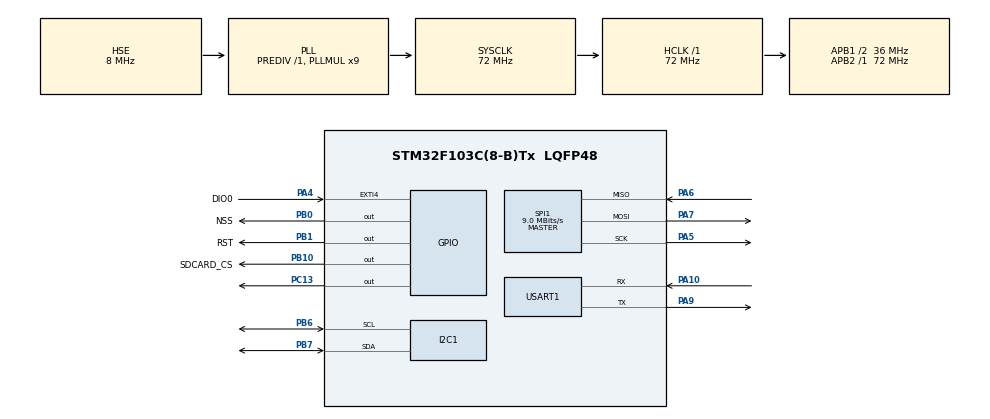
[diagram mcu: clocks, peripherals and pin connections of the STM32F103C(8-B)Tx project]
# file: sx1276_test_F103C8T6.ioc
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FATFS._MAX_SS=4096
FATFS._USE_LFN=1
Mcu.Family=STM32F1
Mcu.Name=STM32F103C(8-B)Tx
Mcu.Package=LQFP48
NVIC.EXTI4_IRQn=true\:0\:0\:false\:false\:true\:true\:true\:true
NVIC.PriorityGroup=NVIC_PRIORITYGROUP_4
PA10.Mode=Asynchronous
PA10.Signal=USART1_RX
PA13.Mode=Serial_Wire
PA13.Signal=SYS_JTMS-SWDIO
PA14.Mode=Serial_Wire
PA14.Signal=SYS_JTCK-SWCLK
PA4.GPIO_Label=DIO0
PA4.Signal=GPXTI4
PA5.Mode=Full_Duplex_Master
PA5.Signal=SPI1_SCK
PA6.Mode=Full_Duplex_Master
PA6.Signal=SPI1_MISO
PA7.Mode=Full_Duplex_Master
PA7.Signal=SPI1_MOSI
PA9.Mode=Asynchronous
PA9.Signal=USART1_TX
PB0.GPIO_Label=NSS
PB0.PinState=GPIO_PIN_SET
PB0.Signal=GPIO_Output
PB1.GPIO_Label=RST
PB1.PinState=GPIO_PIN_SET
PB1.Signal=GPIO_Output
PB10.GPIO_Label=SDCARD_CS
PB10.Signal=GPIO_Output
PB6.Mode=I2C
PB6.Signal=I2C1_SCL
PB7.Mode=I2C
PB7.Signal=I2C1_SDA
PC13-TAMPER-RTC.Signal=GPIO_Output
PD0-OSC_IN.Mode=HSE-External-Oscillator
PD0-OSC_IN.Signal=RCC_OSC_IN
PD1-OSC_OUT.Mode=HSE-External-Oscillator
PD1-OSC_OUT.Signal=RCC_OSC_OUT
ProjectManager.HeapSize=0x200
ProjectManager.StackSize=0x400
ProjectManager.TargetToolchain=STM32CubeIDE
RCC.AHBFreq_Value=72000000
RCC.APB1CLKDivider=RCC_HCLK_DIV2
RCC.APB1Freq_Value=36000000
RCC.APB1TimFreq_Value=72000000
RCC.APB2Freq_Value=72000000
RCC.APB2TimFreq_Value=72000000
RCC.HCLKFreq_Value=72000000
RCC.PLLMUL=RCC_PLL_MUL9
RCC.PLLSourceVirtual=RCC_PLLSOURCE_HSE
RCC.SYSCLKFreq_VALUE=72000000
RCC.SYSCLKSource=RCC_SYSCLKSOURCE_PLLCLK
RCC.USBFreq_Value=72000000
SPI1.BaudRatePrescaler=SPI_BAUDRATEPRESCALER_8
SPI1.CalculateBaudRate=9.0 MBits/s
SPI1.Direction=SPI_DIRECTION_2LINES
SPI1.Mode=SPI_MODE_MASTER
SPI1.VirtualType=VM_MASTER
USART1.VirtualMode=VM_ASYNC
VP_FATFS_VS_Generic.Mode=User_defined
board=custom

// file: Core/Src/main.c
/* USER CODE BEGIN Header */
/**
  ******************************************************************************
  * @file           : main.c
  * @brief          : Main program body
  ******************************************************************************
  * @attention
  *
  * Copyright (c) 2023 STMicroelectronics.
  * All rights reserved.
  *
  * This software is licensed under terms that can be found in the LICENSE file
  * in the root directory of this software component.
  * If no LICENSE file comes with this software, it is provided AS-IS.
  *
  ******************************************************************************
  */
/* USER CODE END Header */
#include "main.h"
#include "fatfs.h"

/* USER CODE BEGIN Includes */
#include <stdio.h>
#include <string.h>
#include "LoRa.h"
#include "DS1307.h"
/* USER CODE END Includes */

I2C_HandleTypeDef hi2c1;

SPI_HandleTypeDef hspi1;

UART_HandleTypeDef huart1;

/* USER CODE BEGIN PV */
LoRa myLoRa;
char message[100];
uint16_t LoRa_status;
uint8_t TxBuffer[16];
uint8_t RxBuffer[16];
char pckt_str[50];
char pckt_buffer[2];
int rssi;
float snr;
int flag = 0;

RTC_time_t mytime;

FATFS fs;
FIL fil;
FATFS *pfs;
DWORD fre_clust;
uint32_t totalSpace, freeSpace;
char info[50];

int count = 0;
/* USER CODE END PV */

void SystemClock_Config(void);
static void MX_GPIO_Init(void);
static void MX_SPI1_Init(void);
static void MX_USART1_UART_Init(void);
static void MX_I2C1_Init(void);

/* USER CODE BEGIN 0 */
void HAL_GPIO_EXTI_Callback(uint16_t GPIO_Pin)
{
  if(GPIO_Pin == DIO0_Pin){
	  LoRa_receive(&myLoRa, RxBuffer, 16);
	  rssi = LoRa_getRSSI(&myLoRa);
	  snr = LoRa_getSNR(&myLoRa);
	  memset(pckt_str, NULL, strlen(pckt_str));
	  for(int i =0;i<16;i++)
	  {
		  if(RxBuffer[i] < 16) strcat(pckt_str, "0");
		  strcat(pckt_str, itoa(RxBuffer[i], pckt_buffer, 16));
		  strcat(pckt_str, " ");
	  }
	  sprintf(message, " Receive message: %s, RSSI = %d, SNR = %.2f\r\n", pckt_str, rssi, snr);
	  HAL_UART_Transmit(&huart1, (uint8_t *)message, strlen(message), 0xffff);
	  memset(message, NULL, strlen(message));
	  itoa(rssi, TxBuffer, 10);
	  flag = 1;
	  //LoRa_transmit(&myLoRa, TxBuffer, 16, 500);
  }
}
/* USER CODE END 0 */

int main(void)
{

  /* MCU Configuration--------------------------------------------------------*/

  /* Reset of all peripherals, Initializes the Flash interface and the Systick. */
  HAL_Init();

  /* Configure the system clock */
  SystemClock_Config();

  /* Initialize all configured peripherals */
  MX_GPIO_Init();
  MX_SPI1_Init();
  MX_USART1_UART_Init();
  MX_I2C1_Init();
  MX_FATFS_Init();
  /* USER CODE BEGIN 2 */
  myLoRa = newLoRa();

  myLoRa.CS_port         = NSS_GPIO_Port;
  myLoRa.CS_pin          = NSS_Pin;
  myLoRa.reset_port      = RST_GPIO_Port;
  myLoRa.reset_pin       = RST_Pin;
  myLoRa.DIO0_port       = DIO0_GPIO_Port;
  myLoRa.DIO0_pin        = DIO0_Pin;
  myLoRa.hSPIx           = &hspi1;

  myLoRa.frequency             = 922400;             // default = 433 MHz
  myLoRa.spredingFactor        = SF_8;           // default = SF_7
  myLoRa.bandWidth             = BW_250KHz;       // default = BW_125KHz
  myLoRa.crcRate               = CR_4_8;          // default = CR_4_5
  myLoRa.power                 = POWER_20db;      // default = 20db
  myLoRa.overCurrentProtection = 150;             // default = 100 mA

  uint16_t LoRa_status = LoRa_init(&myLoRa);
  sprintf(message, "LoRa initialization ..");
  HAL_UART_Transmit(&huart1, (uint8_t *)message, strlen(message), 0xffff);
  memset(message, NULL, strlen(message));
  if(LoRa_status == LORA_OK){
	  sprintf(message, " success !\r\n");
	  HAL_UART_Transmit(&huart1, (uint8_t *)message, strlen(message), 0xffff);
	  memset(message, NULL, strlen(message));
  }

  LoRa_startReceiving(&myLoRa);

  if(ds1307_init(&hi2c1)){
  		sprintf(message, "DS1307 initialization .. fail !\r\n");
  		HAL_UART_Transmit(&huart1, (uint8_t *)message, strlen(message), 0xffff);
  		memset(message, NULL, strlen(message));
  		while(1);
  	}
  	sprintf(message, "DS1307 initialization .. success !\r\n");
  	HAL_UART_Transmit(&huart1, (uint8_t *)message, strlen(message), 0xffff);
  	memset(message, NULL, strlen(message));
  	mytime.seconds = 0;
  	mytime.minutes = 0;
  	mytime.hours = 0;
  	mytime.time_format = TIME_FORMAT_24HRS;
  	ds1307_set_current_time(&mytime);

  	// ---SD CARD---
  	HAL_Delay(500);
	f_mount(&fs, "", 0);
	f_open(&fil, "write.txt", FA_OPEN_ALWAYS | FA_WRITE | FA_READ);

	HAL_Delay(500);
	f_lseek(&fil, fil.fsize);
	f_puts("Hello from Sun 250 12\n", &fil);
	f_close(&fil);

	f_getfree("", &fre_clust, &pfs);
	totalSpace = (uint32_t)((pfs->n_fatent - 2) * pfs->csize * 0.5);
	freeSpace = (uint32_t)(fre_clust * pfs->csize * 0.5);
	sprintf(info,"TotalSpace = %d\tFreeSpace = %d\r\n", totalSpace, freeSpace);
	HAL_UART_Transmit(&huart1, info, strlen(info), 0xffff);

	char buffer[100];
	f_open(&fil, "write.txt", FA_READ);
	while(f_gets(buffer, sizeof(buffer), &fil))
	{
	// Can use the buffer for something useful
	sprintf(info,"%s\r",buffer);
	HAL_UART_Transmit(&huart1, info, strlen(info), 0xffff);
	memset(buffer,0,sizeof(buffer));
	}
	f_close(&fil);
  /* USER CODE END 2 */

  /* Infinite loop */
  /* USER CODE BEGIN WHILE */
  while (1)
  {
	if(flag == 1){
		count++;
		uint8_t checksum = 0;
		for(int i = 0;i < 15; i++)
		{
			checksum += RxBuffer[i];
		}
		sprintf(message,"Checksum = %02x, Answer = %02x %s \r\n", checksum, RxBuffer[15],
				(checksum == RxBuffer[15])?"OK !":"Fail !");
		HAL_UART_Transmit(&huart1, (uint8_t *)message, strlen(message), 0xffff);
		memset(message ,NULL ,sizeof(message));

		sprintf(info,"%d,%d,%02d:%02d:%02d\n", count, (checksum == RxBuffer[15])?1:0, mytime.hours, mytime.minutes, mytime.seconds);
		HAL_UART_Transmit(&huart1, (uint8_t *)info, strlen(info), 0xffff);

		f_open(&fil, "BW250_SF12_test.csv", FA_OPEN_ALWAYS | FA_WRITE | FA_READ);

		f_lseek(&fil, fil.fsize);
		f_puts(info, &fil);
		f_close(&fil);

		char buffer[100];
		f_open(&fil, "BW250_SF12_test.csv", FA_READ);
		while(f_gets(buffer, sizeof(buffer), &fil))
		{
			// Can use the buffer for something useful
			sprintf(info,"%s\r",buffer);
			HAL_UART_Transmit(&huart1, info, strlen(info), 0xffff);
			memset(buffer,0,sizeof(buffer));
		}
		f_close(&fil);

		memset(info ,NULL ,sizeof(info));
		flag = 0;
	}

	HAL_GPIO_WritePin(GPIOC, GPIO_PIN_13, GPIO_PIN_SET);	//PC13 High
	HAL_Delay(500);// Delay
	HAL_GPIO_WritePin(GPIOC, GPIO_PIN_13, GPIO_PIN_RESET);	//PC13 Low
	HAL_Delay(500);// Delay
	ds1307_get_current_time(&mytime);
	sprintf(message, "Current time: %02d:%02d:%02d\r\n",mytime.hours, mytime.minutes, mytime.seconds);
	HAL_UART_Transmit(&huart1, (uint8_t *)message, strlen(message), 0xffff);
	memset(message, NULL, strlen(message));
    /* USER CODE END WHILE */

  }
}

void SystemClock_Config(void)
{
  RCC_OscInitTypeDef RCC_OscInitStruct = {0};
  RCC_ClkInitTypeDef RCC_ClkInitStruct = {0};

  /** Initializes the RCC Oscillators according to the specified parameters
  * in the RCC_OscInitTypeDef structure.
  */
  RCC_OscInitStruct.OscillatorType = RCC_OSCILLATORTYPE_HSE;
  RCC_OscInitStruct.HSEState = RCC_HSE_ON;
  RCC_OscInitStruct.HSEPredivValue = RCC_HSE_PREDIV_DIV1;
  RCC_OscInitStruct.HSIState = RCC_HSI_ON;
  RCC_OscInitStruct.PLL.PLLState = RCC_PLL_ON;
  RCC_OscInitStruct.PLL.PLLSource = RCC_PLLSOURCE_HSE;
  RCC_OscInitStruct.PLL.PLLMUL = RCC_PLL_MUL9;
  if (HAL_RCC_OscConfig(&RCC_OscInitStruct) != HAL_OK)
  {
    Error_Handler();
  }

  /** Initializes the CPU, AHB and APB buses clocks
  */
  RCC_ClkInitStruct.ClockType = RCC_CLOCKTYPE_HCLK|RCC_CLOCKTYPE_SYSCLK
                              |RCC_CLOCKTYPE_PCLK1|RCC_CLOCKTYPE_PCLK2;
  RCC_ClkInitStruct.SYSCLKSource = RCC_SYSCLKSOURCE_PLLCLK;
  RCC_ClkInitStruct.AHBCLKDivider = RCC_SYSCLK_DIV1;
  RCC_ClkInitStruct.APB1CLKDivider = RCC_HCLK_DIV2;
  RCC_ClkInitStruct.APB2CLKDivider = RCC_HCLK_DIV1;

  if (HAL_RCC_ClockConfig(&RCC_ClkInitStruct, FLASH_LATENCY_2) != HAL_OK)
  {
    Error_Handler();
  }
}

static void MX_I2C1_Init(void)
{

  hi2c1.Instance = I2C1;
  hi2c1.Init.ClockSpeed = 100000;
  hi2c1.Init.DutyCycle = I2C_DUTYCYCLE_2;
  hi2c1.Init.OwnAddress1 = 0;
  hi2c1.Init.AddressingMode = I2C_ADDRESSINGMODE_7BIT;
  hi2c1.Init.DualAddressMode = I2C_DUALADDRESS_DISABLE;
  hi2c1.Init.OwnAddress2 = 0;
  hi2c1.Init.GeneralCallMode = I2C_GENERALCALL_DISABLE;
  hi2c1.Init.NoStretchMode = I2C_NOSTRETCH_DISABLE;
  if (HAL_I2C_Init(&hi2c1) != HAL_OK)
  {
    Error_Handler();
  }

}

static void MX_SPI1_Init(void)
{

  /* SPI1 parameter configuration*/
  hspi1.Instance = SPI1;
  hspi1.Init.Mode = SPI_MODE_MASTER;
  hspi1.Init.Direction = SPI_DIRECTION_2LINES;
  hspi1.Init.DataSize = SPI_DATASIZE_8BIT;
  hspi1.Init.CLKPolarity = SPI_POLARITY_LOW;
  hspi1.Init.CLKPhase = SPI_PHASE_1EDGE;
  hspi1.Init.NSS = SPI_NSS_SOFT;
  hspi1.Init.BaudRatePrescaler = SPI_BAUDRATEPRESCALER_8;
  hspi1.Init.FirstBit = SPI_FIRSTBIT_MSB;
  hspi1.Init.TIMode = SPI_TIMODE_DISABLE;
  hspi1.Init.CRCCalculation = SPI_CRCCALCULATION_DISABLE;
  hspi1.Init.CRCPolynomial = 10;
  if (HAL_SPI_Init(&hspi1) != HAL_OK)
  {
    Error_Handler();
  }

}

static void MX_USART1_UART_Init(void)
{

  huart1.Instance = USART1;
  huart1.Init.BaudRate = 115200;
  huart1.Init.WordLength = UART_WORDLENGTH_8B;
  huart1.Init.StopBits = UART_STOPBITS_1;
  huart1.Init.Parity = UART_PARITY_NONE;
  huart1.Init.Mode = UART_MODE_TX_RX;
  huart1.Init.HwFlowCtl = UART_HWCONTROL_NONE;
  huart1.Init.OverSampling = UART_OVERSAMPLING_16;
  if (HAL_UART_Init(&huart1) != HAL_OK)
  {
    Error_Handler();
  }

}

static void MX_GPIO_Init(void)
{
  GPIO_InitTypeDef GPIO_InitStruct = {0};

  /* GPIO Ports Clock Enable */
  __HAL_RCC_GPIOC_CLK_ENABLE();
  __HAL_RCC_GPIOD_CLK_ENABLE();
  __HAL_RCC_GPIOA_CLK_ENABLE();
  __HAL_RCC_GPIOB_CLK_ENABLE();

  /*Configure GPIO pin Output Level */
  HAL_GPIO_WritePin(GPIOC, GPIO_PIN_13, GPIO_PIN_RESET);

  /*Configure GPIO pin Output Level */
  HAL_GPIO_WritePin(GPIOB, NSS_Pin|RST_Pin, GPIO_PIN_SET);

  /*Configure GPIO pin Output Level */
  HAL_GPIO_WritePin(SDCARD_CS_GPIO_Port, SDCARD_CS_Pin, GPIO_PIN_RESET);

  /*Configure GPIO pin : PC13 */
  GPIO_InitStruct.Pin = GPIO_PIN_13;
  GPIO_InitStruct.Mode = GPIO_MODE_OUTPUT_PP;
  GPIO_InitStruct.Pull = GPIO_NOPULL;
  GPIO_InitStruct.Speed = GPIO_SPEED_FREQ_LOW;
  HAL_GPIO_Init(GPIOC, &GPIO_InitStruct);

  /*Configure GPIO pin : DIO0_Pin */
  GPIO_InitStruct.Pin = DIO0_Pin;
  GPIO_InitStruct.Mode = GPIO_MODE_IT_RISING;
  GPIO_InitStruct.Pull = GPIO_NOPULL;
  HAL_GPIO_Init(DIO0_GPIO_Port, &GPIO_InitStruct);

  /*Configure GPIO pins : NSS_Pin RST_Pin SDCARD_CS_Pin */
  GPIO_InitStruct.Pin = NSS_Pin|RST_Pin|SDCARD_CS_Pin;
  GPIO_InitStruct.Mode = GPIO_MODE_OUTPUT_PP;
  GPIO_InitStruct.Pull = GPIO_NOPULL;
  GPIO_InitStruct.Speed = GPIO_SPEED_FREQ_LOW;
  HAL_GPIO_Init(GPIOB, &GPIO_InitStruct);

  /* EXTI interrupt init*/
  HAL_NVIC_SetPriority(EXTI4_IRQn, 0, 0);
  HAL_NVIC_EnableIRQ(EXTI4_IRQn);

}

void Error_Handler(void)
{
  __disable_irq();
  while (1)
  {
  }
}
